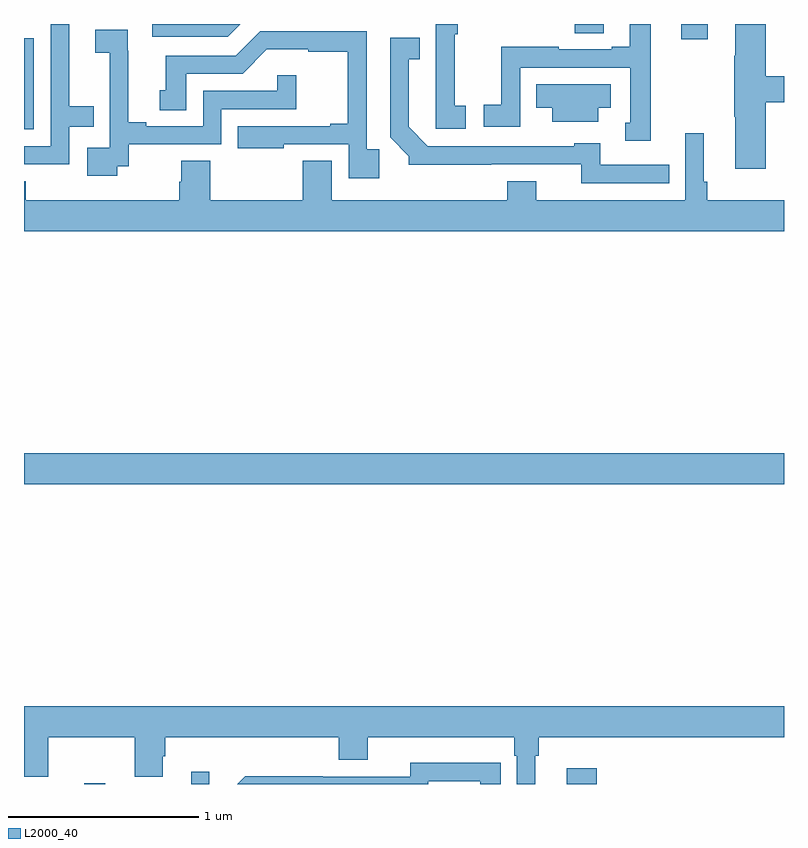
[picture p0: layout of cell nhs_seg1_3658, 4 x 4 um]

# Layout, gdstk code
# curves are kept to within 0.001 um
import gdstk
lib = gdstk.Library(unit=1e-6, precision=1e-09)
def R(c, l, rs):  # rectangles x0, y0, x1, y1
    for r in rs: c.add(gdstk.rectangle(r[:2], r[2:], *l))
def P(c, l, *ps):  # polygons
    for p in ps: c.add(gdstk.Polygon(p, *l))
L2000_40 = (2000, 40)

nhs_seg1_3658 = lib.new_cell('nhs_seg1_3658')
R(nhs_seg1_3658, L2000_40, [(311.317,506.199,311.428,506.203), (311.879,506.199,311.976,506.263), (313.856,506.199,314.015,506.281), (311,507.776,315,507.94), (311,509.646,311.052,510.123), (314.459,510.12,314.599,510.199), (313.898,510.151,314.05,510.199)])
P(nhs_seg1_3658, L2000_40, [(314.299,510.199),(314.189,510.199),(314.189,510.079),(314.093,510.079),(314.093,510.066),(313.814,510.066),(313.814,510.079),(313.513,510.079),(313.513,509.774),(313.419,509.774),(313.419,509.658),(313.611,509.658),(313.611,509.97),(314.19,509.97),(314.19,509.679),(314.165,509.679),(314.165,509.585),(314.299,509.585)],
  [(314.903,509.788),(315,509.788),(315,509.924),(314.903,509.924),(314.903,510.199),(314.744,510.199),(314.744,510.032),(314.737,510.032),(314.737,509.711),(314.744,509.711),(314.744,509.436),(314.903,509.436)],
  [(313.324,509.769),(313.266,509.769),(313.266,510.145),(313.283,510.145),(313.283,510.199),(313.167,510.199),(313.167,509.924),(313.166,509.924),(313.166,509.649),(313.324,509.649)],
  [(312.139,510.199),(311.676,510.199),(311.676,510.132),(312.072,510.132)],
  [(311.238,509.658),(311.366,509.658),(311.366,509.767),(311.239,509.767),(311.239,510.199),(311.142,510.199),(311.142,509.556),(311,509.556),(311,509.46),(311.238,509.46)],
  [(311.49,509.451),(311.552,509.451),(311.552,509.565),(312.039,509.565),(312.039,509.751),(312.434,509.751),(312.434,509.929),(312.333,509.929),(312.333,509.847),(311.943,509.847),(311.943,509.661),(311.644,509.661),(311.644,509.681),(311.548,509.681),(311.548,510.059),(311.546,510.059),(311.546,510.17),(311.376,510.17),(311.376,510.049),(311.45,510.049),(311.45,509.851),(311.451,509.851),(311.451,509.547),(311.334,509.547),(311.334,509.4),(311.49,509.4)],
  [(312.869,509.539),(312.804,509.539),(312.804,510.162),(312.243,510.162),(312.114,510.033),(311.747,510.033),(311.747,509.85),(311.714,509.85),(311.714,509.746),(311.854,509.746),(311.854,509.937),(312.15,509.937),(312.278,510.065),(312.497,510.065),(312.497,510.054),(312.703,510.054),(312.703,509.674),(312.611,509.674),(312.611,509.661),(312.124,509.661),(312.124,509.546),(312.367,509.546),(312.367,509.565),(312.708,509.565),(312.708,509.388),(312.869,509.388)],
  [(314.396,509.457),(314.032,509.457),(314.032,509.572),(313.896,509.572),(313.896,509.556),(313.125,509.556),(313.024,509.657),(313.024,510.014),(313.082,510.014),(313.082,510.127),(312.927,510.127),(312.927,509.602),(313.026,509.503),(313.026,509.459),(313.933,509.46),(313.933,509.361),(314.396,509.361)],
  [(314.023,509.759),(314.089,509.759),(314.089,509.881),(313.696,509.881),(313.696,509.759),(313.781,509.759),(313.781,509.684),(314.023,509.684)],
  [(315,509.272),(314.597,509.272),(314.597,509.368),(314.578,509.368),(314.578,509.623),(314.481,509.623),(314.481,509.272),(313.696,509.272),(313.696,509.371),(313.544,509.371),(313.544,509.272),(312.619,509.272),(312.619,509.48),(312.467,509.48),(312.467,509.272),(311.981,509.272),(311.981,509.48),(311.828,509.48),(311.828,509.37),(311.816,509.37),(311.816,509.272),(311.009,509.272),(311.009,509.371),(311,509.371),(311,509.108),(315,509.108)],
  [(313.69,506.348),(313.709,506.348),(313.709,506.444),(315,506.444),(315,506.608),(311,506.608),(311,506.236),(311.127,506.236),(311.127,506.444),(311.584,506.444),(311.584,506.236),(311.731,506.236),(311.731,506.346),(311.744,506.346),(311.744,506.444),(312.656,506.444),(312.656,506.327),(312.808,506.327),(312.808,506.444),(313.58,506.444),(313.58,506.348),(313.593,506.348),(313.593,506.199),(313.69,506.199)],
  [(313.128,506.214),(313.4,506.214),(313.4,506.199),(313.508,506.199),(313.508,506.31),(313.032,506.311),(313.032,506.238),(312.572,506.238),(312.572,506.24),(312.164,506.24),(312.123,506.199),(313.128,506.199)])

lib.write_gds('nhs_seg1_3658.gds')
